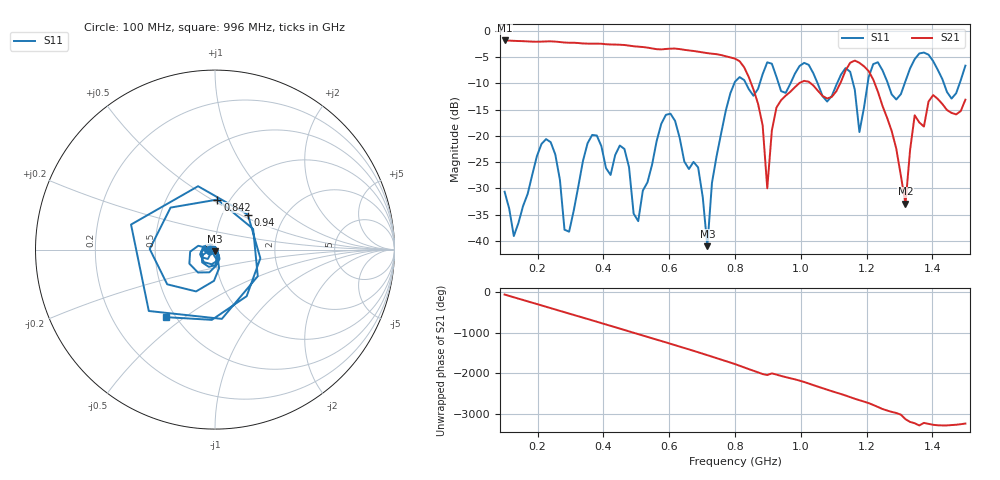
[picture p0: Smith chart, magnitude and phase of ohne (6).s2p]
! NanoVNA-App
! Date: 2025-09-25 14:20:51
! Start: 100MHz Stop: 1,5GHz Points: 101
! S-Parameter data: F S11 S21 S12 S22
# Hz S RI R 50
!  Frequency  S11_Real  S11_Imag  S21_Real  S21_Imag  S12_Real  S12_Imag  S22_Real  S22_Imag
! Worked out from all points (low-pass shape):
!   101 points, 100 MHz to 1.5 GHz, reference 50 ohm
!   highest |S21| = -1.79 dB at 100 MHz (marker M1); lowest = -32.9 dB at 1.318 GHz (marker M2)
!   |S21| within 3 dB of the highest: start of sweep to 771.1 MHz
!   lowest |S11| = -41.0 dB at 716 MHz (marker M3), VSWR 1.02, Z = 49.9 - j0.877 ohm
!   |S11| at or under -10 dB: start of sweep to 797.8 MHz; 833.2 MHz to 875.2 MHz (41.92 MHz wide, 4.91 % of centre); 1.051 GHz to 1.11 GHz (58.71 MHz wide, 5.43 % of centre)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
!   S12 and S22 are empty: the file has one direction only
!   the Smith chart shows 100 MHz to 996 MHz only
!   S11 on the Smith chart (normalised r, x): 100 MHz: 0.94, -0.01; 842 MHz: 0.88, +0.53; 940 MHz: 1.32, +0.55; 996 MHz: 0.45, -0.43
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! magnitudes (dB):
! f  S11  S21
! 100 MHz  -30.6  -1.8
! 128 MHz  -39.1  -1.9
! 226 MHz  -20.6  -2.0
! 296 MHz  -38.3  -2.2
! 338 MHz  -24.8  -2.4
! 464 MHz  -22.5  -2.7
! 506 MHz  -36.2  -3.0
! 576 MHz  -17.7  -3.5
! 688 MHz  -26.0  -3.9
! 716 MHz  -41.0  -4.2
! 800 MHz  -9.7  -5.3
! 842 MHz  -11.1  -8.8
! 898 MHz  -6.0  -30.0
! 940 MHz  -11.5  -13.2
! 996 MHz  -6.7  -9.9
! 1.038 GHz  -8.1  -10.4
! 1.178 GHz  -19.3  -6.1
! 1.22 GHz  -6.3  -9.3
! 1.276 GHz  -12.1  -19.1
! 1.318 GHz  -9.5  -32.9
! 1.346 GHz  -5.4  -16.1
! 1.5 GHz  -6.6  -13.1
